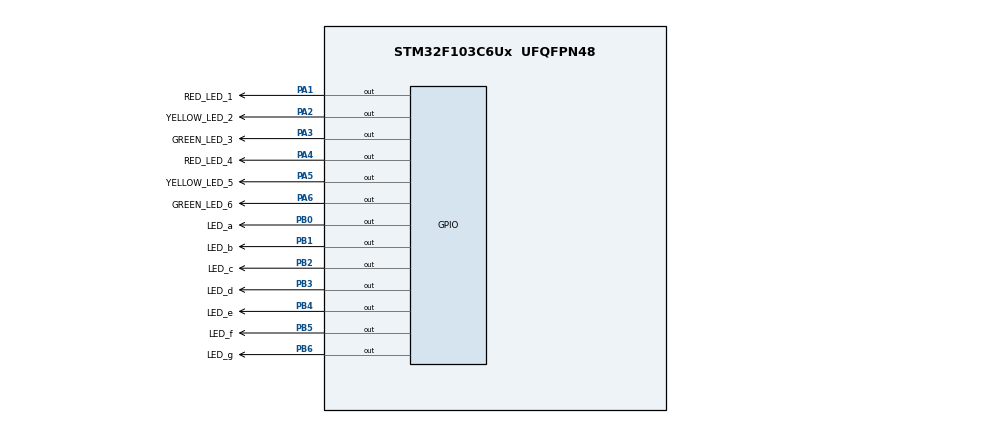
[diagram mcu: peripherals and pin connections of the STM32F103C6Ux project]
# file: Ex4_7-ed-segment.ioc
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Mcu.Family=STM32F1
Mcu.Name=STM32F103C6Ux
Mcu.Package=UFQFPN48
NVIC.PriorityGroup=NVIC_PRIORITYGROUP_4
PA1.GPIO_Label=RED_LED_1
PA1.Signal=GPIO_Output
PA13.Mode=Serial_Wire
PA13.Signal=SYS_JTMS-SWDIO
PA14.Mode=Serial_Wire
PA14.Signal=SYS_JTCK-SWCLK
PA2.GPIO_Label=YELLOW_LED_2
PA2.Signal=GPIO_Output
PA3.GPIO_Label=GREEN_LED_3
PA3.Signal=GPIO_Output
PA4.GPIO_Label=RED_LED_4
PA4.Signal=GPIO_Output
PA5.GPIO_Label=YELLOW_LED_5
PA5.Signal=GPIO_Output
PA6.GPIO_Label=GREEN_LED_6
PA6.Signal=GPIO_Output
PB0.GPIO_Label=LED_a
PB0.Signal=GPIO_Output
PB1.GPIO_Label=LED_b
PB1.Signal=GPIO_Output
PB2.GPIO_Label=LED_c
PB2.Signal=GPIO_Output
PB3.GPIO_Label=LED_d
PB3.Signal=GPIO_Output
PB4.GPIO_Label=LED_e
PB4.Signal=GPIO_Output
PB5.GPIO_Label=LED_f
PB5.Signal=GPIO_Output
PB6.GPIO_Label=LED_g
PB6.Signal=GPIO_Output
ProjectManager.HeapSize=0x200
ProjectManager.StackSize=0x400
ProjectManager.TargetToolchain=STM32CubeIDE
RCC.APB1Freq_Value=8000000
RCC.APB2Freq_Value=8000000
board=custom

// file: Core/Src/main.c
/* USER CODE BEGIN Header */
/**
  ******************************************************************************
  * @file           : main.c
  * @brief          : Main program body
  ******************************************************************************
  * @attention
  *
  * <h2><center>&copy; Copyright (c) 2026 STMicroelectronics.
  * All rights reserved.</center></h2>
  *
  * This software component is licensed by ST under BSD 3-Clause license,
  * the "License"; You may not use this file except in compliance with the
  * License. You may obtain a copy of the License at:
  *                        opensource.org/licenses/BSD-3-Clause
  *
  ******************************************************************************
  */
/* USER CODE END Header */
#include "main.h"

/* USER CODE BEGIN PTD */
typedef enum{
	AUTO_RED_GREEN = 0, //r1 - g6
	AUTO_RED_YELLOW, // r1 - y5
	AUTO_GREEN_RED, // g3 - r4
	AUTO_YELLOW_RED // y2 - r4
}TrafficState;
/* USER CODE END PTD */

void SystemClock_Config(void);
static void MX_GPIO_Init(void);

/* USER CODE BEGIN 0 */
void setTrafficLight1(int red, int yellow, int green) {
    HAL_GPIO_WritePin(RED_LED_1_GPIO_Port, RED_LED_1_Pin, red ? GPIO_PIN_RESET : GPIO_PIN_SET);
    HAL_GPIO_WritePin(YELLOW_LED_2_GPIO_Port, YELLOW_LED_2_Pin, yellow ? GPIO_PIN_RESET : GPIO_PIN_SET);
    HAL_GPIO_WritePin(GREEN_LED_3_GPIO_Port, GREEN_LED_3_Pin, green ? GPIO_PIN_RESET : GPIO_PIN_SET);
}
// way
void setTrafficLight2(int red, int yellow, int green) {
    HAL_GPIO_WritePin(RED_LED_4_GPIO_Port, RED_LED_4_Pin, red ? GPIO_PIN_RESET : GPIO_PIN_SET);
    HAL_GPIO_WritePin(YELLOW_LED_5_GPIO_Port, YELLOW_LED_5_Pin, yellow ? GPIO_PIN_RESET : GPIO_PIN_SET);
    HAL_GPIO_WritePin(GREEN_LED_6_GPIO_Port, GREEN_LED_6_Pin, green ? GPIO_PIN_RESET : GPIO_PIN_SET);
}
void display7SEG(int num) {
    // Mảng mã hóa cho LED 7 đoạn Anode chung (g f e d c b a)
    // 0: BẬT (RESET), 1: TẮT (SET)
    const uint8_t segment_patterns[10] = {
        0x3F, // 0: 0111111 -> sáng a,b,c,d,e,f
        0x06, // 1: 0000110 -> sáng b,c
        0x5B, // 2: 1011011 -> sáng a,b,d,e,g
        0x4F, // 3: 1001111 -> sáng a,b,c,d,g
        0x66, // 4: 1100110 -> sáng b,c,f,g
        0x6D, // 5: 1101101 -> sáng a,c,d,f,g
        0x7D, // 6: 1111101 -> sáng a,c,d,e,f,g
        0x07, // 7: 0000111 -> sáng a,b,c
        0x7F, // 8: 1111111 -> sáng a,b,c,d,e,f,g
        0x6F  // 9: 1101111 -> sáng a,b,c,d,f,g
    };

    if (num < 0 || num > 9) return;

    uint8_t pattern = segment_patterns[num];

    // Ghi trạng thái ra từng chân từ PB0 (a) đến PB6 (g)
    // Anode chung: Bit = 1 thì xuất mức 0 (RESET) để đèn sáng
    HAL_GPIO_WritePin(GPIOB, GPIO_PIN_0, (pattern & (1 << 0)) ? GPIO_PIN_RESET : GPIO_PIN_SET);
    HAL_GPIO_WritePin(GPIOB, GPIO_PIN_1, (pattern & (1 << 1)) ? GPIO_PIN_RESET : GPIO_PIN_SET);
    HAL_GPIO_WritePin(GPIOB, GPIO_PIN_2, (pattern & (1 << 2)) ? GPIO_PIN_RESET : GPIO_PIN_SET);
    HAL_GPIO_WritePin(GPIOB, GPIO_PIN_3, (pattern & (1 << 3)) ? GPIO_PIN_RESET : GPIO_PIN_SET);
    HAL_GPIO_WritePin(GPIOB, GPIO_PIN_4, (pattern & (1 << 4)) ? GPIO_PIN_RESET : GPIO_PIN_SET);
    HAL_GPIO_WritePin(GPIOB, GPIO_PIN_5, (pattern & (1 << 5)) ? GPIO_PIN_RESET : GPIO_PIN_SET);
    HAL_GPIO_WritePin(GPIOB, GPIO_PIN_6, (pattern & (1 << 6)) ? GPIO_PIN_RESET : GPIO_PIN_SET);
}
/* USER CODE END 0 */

int main(void)
{

  /* MCU Configuration--------------------------------------------------------*/

  /* Reset of all peripherals, Initializes the Flash interface and the Systick. */
  HAL_Init();

  /* Configure the system clock */
  SystemClock_Config();

  /* Initialize all configured peripherals */
  MX_GPIO_Init();
  /* USER CODE BEGIN 2 */
  TrafficState state = AUTO_RED_GREEN;
  int timer = 3;
  // Khởi tạo hiển thị trạng thái ban đầu
  setTrafficLight1(1, 0, 0);
  setTrafficLight2(0, 0, 1);

  int counter = 0;
  /* USER CODE END 2 */

  /* Infinite loop */
  /* USER CODE BEGIN WHILE */
  while (1)
  {
	  if(counter >= 10) counter = 0;
	  display7SEG(counter++);
	  HAL_Delay(1000);
	  timer--;
	      if (timer <= 0) {
	          switch (state) {
	              case AUTO_RED_GREEN: // �?ang �?�? 1 - Xanh 2 -> Chuyển sang �?�? 1 - Vàng 2 (2s)
	                  state = AUTO_RED_YELLOW;
	                  timer = 2;
	                  setTrafficLight1(1, 0, 0);
	                  setTrafficLight2(0, 1, 0);
	                  break;

	              case AUTO_RED_YELLOW: // �?ang �?�? 1 - Vàng 2 -> Chuyển sang Xanh 1 - �?�? 2 (3s)
	                  state = AUTO_GREEN_RED;
	                  timer = 3;
	                  setTrafficLight1(0, 0, 1);
	                  setTrafficLight2(1, 0, 0);
	                  break;

	              case AUTO_GREEN_RED: // �?ang Xanh 1 - �?�? 2 -> Chuyển sang Vàng 1 - �?�? 2 (2s)
	                  state = AUTO_YELLOW_RED;
	                  timer = 2;
	                  setTrafficLight1(0, 1, 0);
	                  setTrafficLight2(1, 0, 0);
	                  break;

	              case AUTO_YELLOW_RED: // Hết chu kỳ -> Quay lại �?�? 1 - Xanh 2 (3s)
	                  state = AUTO_RED_GREEN;
	                  timer = 3;
	                  setTrafficLight1(1, 0, 0);
	                  setTrafficLight2(0, 0, 1);
	                  break;
	          }
	      }

    /* USER CODE END WHILE */

  }
}

void SystemClock_Config(void)
{
  RCC_OscInitTypeDef RCC_OscInitStruct = {0};
  RCC_ClkInitTypeDef RCC_ClkInitStruct = {0};

  /** Initializes the RCC Oscillators according to the specified parameters
  * in the RCC_OscInitTypeDef structure.
  */
  RCC_OscInitStruct.OscillatorType = RCC_OSCILLATORTYPE_HSI;
  RCC_OscInitStruct.HSIState = RCC_HSI_ON;
  RCC_OscInitStruct.HSICalibrationValue = RCC_HSICALIBRATION_DEFAULT;
  RCC_OscInitStruct.PLL.PLLState = RCC_PLL_NONE;
  if (HAL_RCC_OscConfig(&RCC_OscInitStruct) != HAL_OK)
  {
    Error_Handler();
  }
  /** Initializes the CPU, AHB and APB buses clocks
  */
  RCC_ClkInitStruct.ClockType = RCC_CLOCKTYPE_HCLK|RCC_CLOCKTYPE_SYSCLK
                              |RCC_CLOCKTYPE_PCLK1|RCC_CLOCKTYPE_PCLK2;
  RCC_ClkInitStruct.SYSCLKSource = RCC_SYSCLKSOURCE_HSI;
  RCC_ClkInitStruct.AHBCLKDivider = RCC_SYSCLK_DIV1;
  RCC_ClkInitStruct.APB1CLKDivider = RCC_HCLK_DIV1;
  RCC_ClkInitStruct.APB2CLKDivider = RCC_HCLK_DIV1;

  if (HAL_RCC_ClockConfig(&RCC_ClkInitStruct, FLASH_LATENCY_0) != HAL_OK)
  {
    Error_Handler();
  }
}

static void MX_GPIO_Init(void)
{
  GPIO_InitTypeDef GPIO_InitStruct = {0};

  /* GPIO Ports Clock Enable */
  __HAL_RCC_GPIOA_CLK_ENABLE();
  __HAL_RCC_GPIOB_CLK_ENABLE();

  /*Configure GPIO pin Output Level */
  HAL_GPIO_WritePin(GPIOA, RED_LED_1_Pin|YELLOW_LED_2_Pin|GREEN_LED_3_Pin|RED_LED_4_Pin
                          |YELLOW_LED_5_Pin|GREEN_LED_6_Pin, GPIO_PIN_RESET);

  /*Configure GPIO pin Output Level */
  HAL_GPIO_WritePin(GPIOB, LED_a_Pin|LED_b_Pin|LED_c_Pin|LED_d_Pin
                          |LED_e_Pin|LED_f_Pin|LED_g_Pin, GPIO_PIN_RESET);

  /*Configure GPIO pins : RED_LED_1_Pin YELLOW_LED_2_Pin GREEN_LED_3_Pin RED_LED_4_Pin
                           YELLOW_LED_5_Pin GREEN_LED_6_Pin */
  GPIO_InitStruct.Pin = RED_LED_1_Pin|YELLOW_LED_2_Pin|GREEN_LED_3_Pin|RED_LED_4_Pin
                          |YELLOW_LED_5_Pin|GREEN_LED_6_Pin;
  GPIO_InitStruct.Mode = GPIO_MODE_OUTPUT_PP;
  GPIO_InitStruct.Pull = GPIO_NOPULL;
  GPIO_InitStruct.Speed = GPIO_SPEED_FREQ_LOW;
  HAL_GPIO_Init(GPIOA, &GPIO_InitStruct);

  /*Configure GPIO pins : LED_a_Pin LED_b_Pin LED_c_Pin LED_d_Pin
                           LED_e_Pin LED_f_Pin LED_g_Pin */
  GPIO_InitStruct.Pin = LED_a_Pin|LED_b_Pin|LED_c_Pin|LED_d_Pin
                          |LED_e_Pin|LED_f_Pin|LED_g_Pin;
  GPIO_InitStruct.Mode = GPIO_MODE_OUTPUT_PP;
  GPIO_InitStruct.Pull = GPIO_NOPULL;
  GPIO_InitStruct.Speed = GPIO_SPEED_FREQ_LOW;
  HAL_GPIO_Init(GPIOB, &GPIO_InitStruct);

}

void Error_Handler(void)
{
  __disable_irq();
  while (1)
  {
  }
}

/************************ (C) COPYRIGHT STMicroelectronics *****END OF FILE****/
